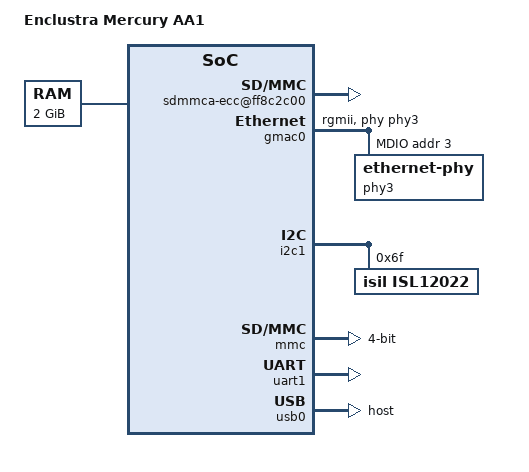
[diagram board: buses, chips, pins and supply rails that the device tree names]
// SPDX-License-Identifier: GPL-2.0
/dts-v1/;

#include "socfpga_arria10.dtsi"

/ {

	model = "Enclustra Mercury AA1";
	compatible = "altr,socfpga-arria10", "altr,socfpga";

	aliases {
		ethernet0 = &gmac0;
		serial1 = &uart1;
		i2c0 = &i2c0;
		i2c1 = &i2c1;
	};

	memory@0 {
		name = "memory";
		device_type = "memory";
		reg = <0x0 0x80000000>; /* 2GB */
	};

	chosen {
		stdout-path = "serial1:115200n8";
	};
};

&eccmgr {
	sdmmca-ecc@ff8c2c00 {
		compatible = "altr,socfpga-sdmmc-ecc";
		reg = <0xff8c2c00 0x400>;
		altr,ecc-parent = <&mmc>;
		interrupts = <15 IRQ_TYPE_LEVEL_HIGH>,
			     <47 IRQ_TYPE_LEVEL_HIGH>,
			     <16 IRQ_TYPE_LEVEL_HIGH>,
			     <48 IRQ_TYPE_LEVEL_HIGH>;
	};
};

&gmac0 {
	phy-mode = "rgmii";
	phy-addr = <0xffffffff>; /* probe for phy addr */

	max-frame-size = <3800>;
	status = "okay";

	phy-handle = <&phy3>;

	mdio {
		#address-cells = <1>;
		#size-cells = <0>;
		compatible = "snps,dwmac-mdio";
		phy3: ethernet-phy@3 {
			txd0-skew-ps = <0>; /* -420ps */
			txd1-skew-ps = <0>; /* -420ps */
			txd2-skew-ps = <0>; /* -420ps */
			txd3-skew-ps = <0>; /* -420ps */
			rxd0-skew-ps = <420>; /* 0ps */
			rxd1-skew-ps = <420>; /* 0ps */
			rxd2-skew-ps = <420>; /* 0ps */
			rxd3-skew-ps = <420>; /* 0ps */
			txen-skew-ps = <0>; /* -420ps */
			txc-skew-ps = <1860>; /* 960ps */
			rxdv-skew-ps = <420>; /* 0ps */
			rxc-skew-ps = <1680>; /* 780ps */
			reg = <3>;
		};
	};
};

&gpio0 {
	status = "okay";
};

&gpio1 {
	status = "okay";
};

&gpio2 {
	status = "okay";
};

&i2c1 {
	status = "okay";
	isl12022: isl12022@6f {
		status = "okay";
		compatible = "isil,isl12022";
		reg = <0x6f>;
	};
};

/* Following mappings are taken from arria10 socdk dts */
&mmc {
	status = "okay";
	cap-sd-highspeed;
	broken-cd;
	bus-width = <4>;
};

&osc1 {
	clock-frequency = <33330000>;
};

&uart1 {
	status = "okay";
};

&usb0 {
	status = "okay";
	dr_mode = "host";
};
